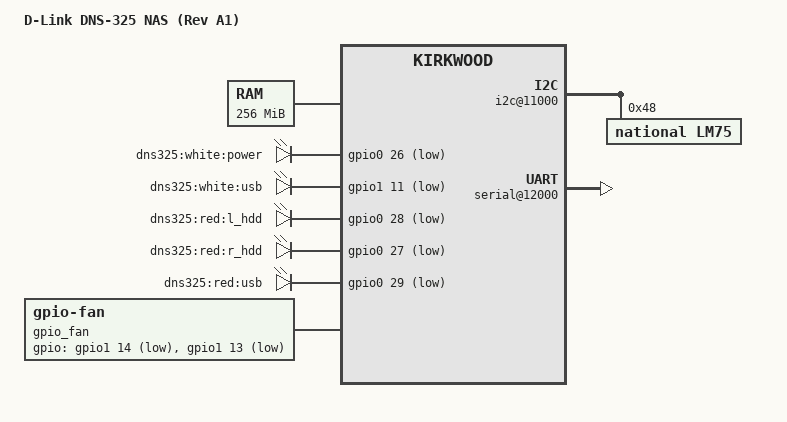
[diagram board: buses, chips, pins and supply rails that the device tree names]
/dts-v1/;
#include "kirkwood-dnskw.dtsi"
/ {
	model = "D-Link DNS-325 NAS (Rev A1)";
	compatible = "dlink,dns-325-a1", "dlink,dns-325", "dlink,dns-kirkwood", "marvell,kirkwood-88f6281", "marvell,kirkwood";
	memory {
		device_type = "memory";
		reg = <0x00000000 0x10000000>;
	};
	chosen {
		bootargs = "console=ttyS0,115200n8 earlyprintk";
	};

	gpio-leds {
		compatible = "gpio-leds";
		pinctrl-0 = <&pmx_led_power &pmx_led_red_usb_325
			     &pmx_led_red_left_hdd &pmx_led_red_right_hdd
			     &pmx_led_white_usb>;
		pinctrl-names = "default";
		white-power {
			label = "dns325:white:power";
			gpios = <&gpio0 26 GPIO_ACTIVE_LOW>; /* GPIO 26 Active Low */	
			default-state = "keep";
		};
		white-usb {
			label = "dns325:white:usb";
			gpios = <&gpio1 11 GPIO_ACTIVE_LOW>; /* GPIO 43 Active Low */
		};grep
		red-l_hdd {
			label = "dns325:red:l_hdd";
			gpios = <&gpio0 28 GPIO_ACTIVE_LOW>; /* GPIO 28 Active Low */
		};
		red-r_hdd {
			label = "dns325:red:r_hdd";
			gpios = <&gpio0 27 GPIO_ACTIVE_LOW>; /* GPIO 27 Active Low */
		};
		red-usb {
			label = "dns325:red:usb";
			gpios = <&gpio0 29 GPIO_ACTIVE_LOW>; /* GPIO 29 Active Low */
		};
	};
	
	gpio_fan {
		/* Fan: ADDA AD045HB-G73 40mm 6000rpm@5v */
		compatible = "gpio-fan";
		pinctrl-0 = <&pmx_fan_high_speed &pmx_fan_low_speed>;
		pinctrl-names = "default";
		gpios = <&gpio1 14 GPIO_ACTIVE_LOW	/* GPIO 46 Active Low -  50% FAN speed */
			 &gpio1 13 GPIO_ACTIVE_LOW>;	/* GPIO 45 Active Low - 100% FAN speed */
		gpio-fan,speed-map = <0    0
				      3000 1
				      6000 2>;
	};

	ocp@f1000000 {
		i2c@11000 {
			status = "okay";
			lm75: lm75@48 {
				compatible = "national,lm75";
				reg = <0x48>;
			};
		};
		serial@12000 {
			status = "okay";
		};
	};
};

